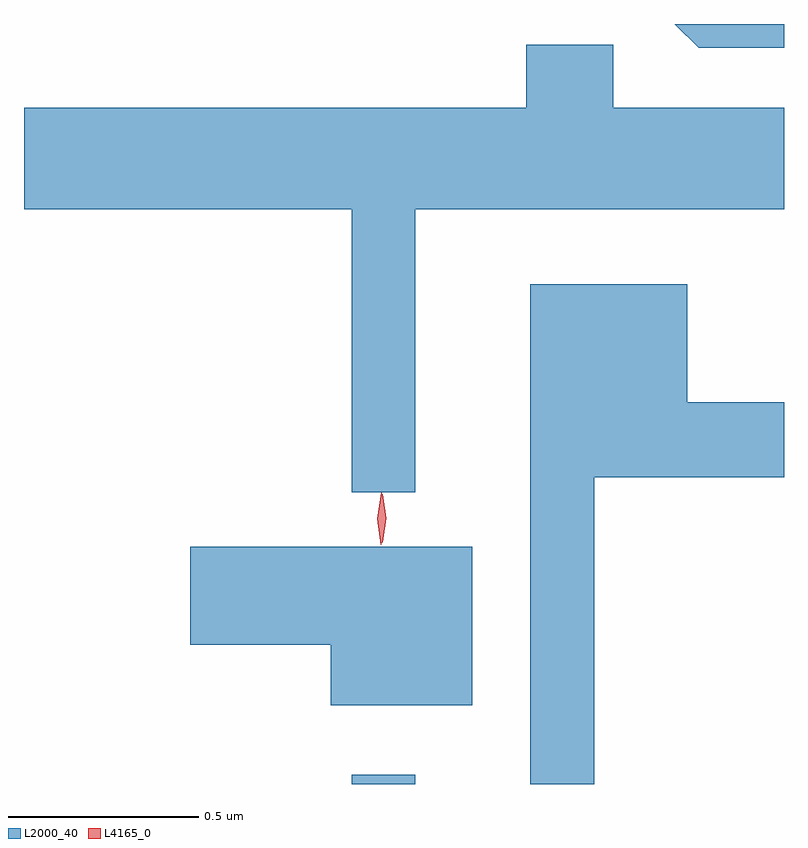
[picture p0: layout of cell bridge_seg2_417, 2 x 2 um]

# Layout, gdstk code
import gdstk
lib = gdstk.Library(unit=1e-6, precision=1e-09)
def R(c, l, rs):  # rectangles x0, y0, x1, y1
    for r in rs: c.add(gdstk.rectangle(r[:2], r[2:], *l))
def P(c, l, *ps):  # polygons
    for p in ps: c.add(gdstk.Polygon(p, *l))
L2000_40 = (2000, 40)
L4165_0 = (4165, 0)

bridge_seg2_417 = lib.new_cell('bridge_seg2_417')
R(bridge_seg2_417, L2000_40, [(578.691,1042.364,578.859,1042.388)])
P(bridge_seg2_417, L2000_40, [(579.829,1044.364),(579.541,1044.364),(579.604,1044.301),(579.829,1044.301)],
  [(578.859,1043.876),(579.829,1043.876),(579.829,1044.144),(579.379,1044.144),(579.379,1044.309),(579.151,1044.309),(579.151,1044.144),(577.829,1044.144),(577.829,1043.876),(578.691,1043.876),(578.691,1043.132),(578.859,1043.132)],
  [(579.329,1043.171),(579.829,1043.171),(579.829,1043.369),(579.574,1043.369),(579.574,1043.679),(579.161,1043.679),(579.161,1042.364),(579.329,1042.364)],
  [(579.009,1042.989),(578.266,1042.989),(578.266,1042.731),(578.636,1042.731),(578.636,1042.571),(579.009,1042.571)])
P(bridge_seg2_417, L4165_0, [(578.768,1042.994),(578.768,1042.994),(578.759,1043.062),(578.769,1043.13),(578.77,1043.13),(578.77,1043.13),(578.779,1043.062),(578.769,1042.994)],
  [(578.772,1043),(578.772,1043),(578.762,1043.063),(578.772,1043.126),(578.772,1043.127),(578.773,1043.126),(578.782,1043.063),(578.773,1043)])

lib.write_gds('bridge_seg2_417.gds')
